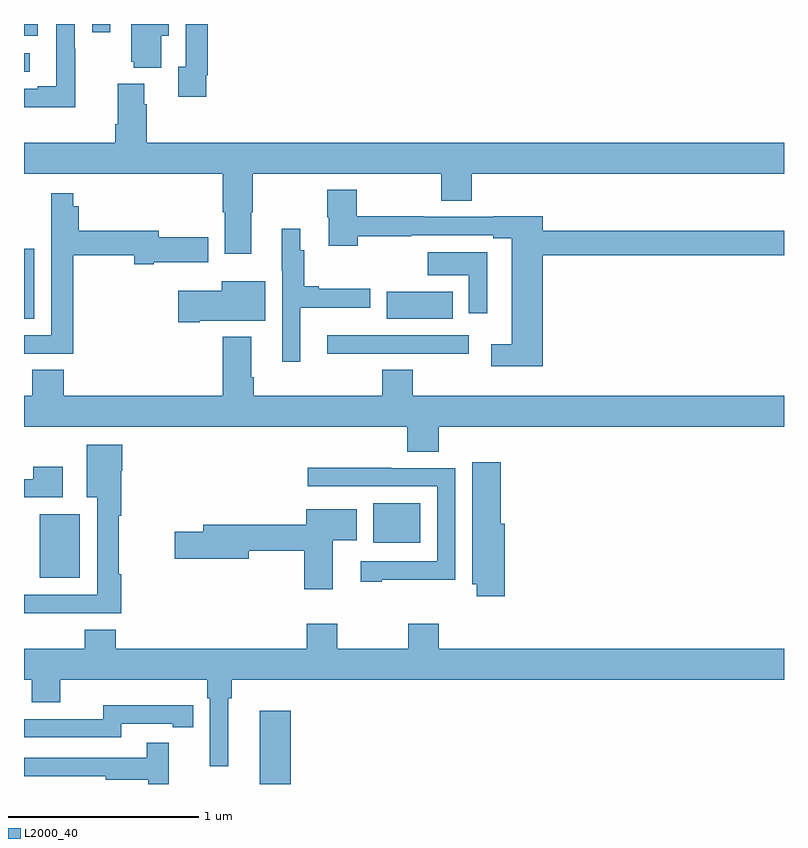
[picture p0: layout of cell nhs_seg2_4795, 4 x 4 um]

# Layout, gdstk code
import gdstk
lib = gdstk.Library(unit=1e-6, precision=1e-09)
def R(c, l, rs):  # rectangles x0, y0, x1, y1
    for r in rs: c.add(gdstk.rectangle(r[:2], r[2:], *l))
def P(c, l, *ps):  # polygons
    for p in ps: c.add(gdstk.Polygon(p, *l))
L2000_40 = (2000, 40)

nhs_seg2_4795 = lib.new_cell('nhs_seg2_4795')
R(nhs_seg2_4795, L2000_40, [(374.24,601.8,374.404,602.185), (373.082,602.885,373.294,603.22), (374.837,603.071,375.085,603.277), (373,604.248,373.054,604.617), (374.908,604.25,375.257,604.39), (373,605.55,373.03,605.646), (373,605.738,373.072,605.8), (373.359,605.757,373.455,605.8)])
P(nhs_seg2_4795, L2000_40, [(373.96,605.53),(373.967,605.53),(373.967,605.8),(373.851,605.8),(373.851,605.574),(373.811,605.574),(373.811,605.418),(373.96,605.418)],
  [(373.269,605.669),(373.266,605.669),(373.266,605.8),(373.17,605.8),(373.17,605.473),(373.073,605.473),(373.073,605.46),(373,605.46),(373,605.363),(373.269,605.363)],
  [(373.723,605.738),(373.762,605.738),(373.762,605.8),(373.565,605.8),(373.565,605.601),(373.577,605.601),(373.577,605.57),(373.723,605.57)],
  [(373.646,605.378),(373.633,605.378),(373.633,605.485),(373.493,605.485),(373.493,605.272),(373.481,605.272),(373.481,605.176),(373,605.176),(373,605.012),(374.045,605.012),(374.045,604.809),(374.057,604.809),(374.057,604.59),(374.197,604.59),(374.197,604.81),(374.205,604.81),(374.205,605.012),(375.196,605.012),(375.196,604.87),(375.356,604.87),(375.356,605.012),(377,605.012),(377,605.176),(373.646,605.176)],
  [(375.731,604.582),(377,604.582),(377,604.711),(375.731,604.711),(375.731,604.788),(375.47,604.788),(375.47,604.785),(375.107,604.785),(375.107,604.788),(374.751,604.788),(374.751,604.927),(374.596,604.927),(374.596,604.782),(374.603,604.782),(374.603,604.632),(374.756,604.632),(374.756,604.684),(375.038,604.684),(375.038,604.689),(375.47,604.689),(375.47,604.673),(375.566,604.673),(375.566,604.115),(375.459,604.115),(375.459,603.998),(375.731,603.998)],
  [(373.259,604.582),(373.58,604.582),(373.58,604.535),(373.684,604.535),(373.684,604.547),(373.969,604.547),(373.969,604.677),(373.708,604.677),(373.708,604.711),(373.289,604.711),(373.289,604.84),(373.259,604.84),(373.259,604.909),(373.143,604.909),(373.143,604.161),(373,604.161),(373,604.065),(373.259,604.065)],
  [(374.455,604.307),(374.823,604.307),(374.823,604.407),(374.551,604.407),(374.551,604.42),(374.474,604.42),(374.474,604.61),(374.455,604.61),(374.455,604.723),(374.357,604.723),(374.357,604.501),(374.358,604.501),(374.358,604.023),(374.455,604.023)],
  [(375.438,604.599),(375.126,604.599),(375.126,604.478),(375.342,604.478),(375.342,604.278),(375.438,604.278)],
  [(373.924,604.238),(374.269,604.238),(374.269,604.447),(374.042,604.447),(374.042,604.396),(373.812,604.396),(373.812,604.231),(373.924,604.231)],
  [(375.34,604.161),(374.814,604.161),(374.814,604.162),(374.595,604.162),(374.595,604.065),(375.34,604.065)],
  [(375.182,603.68),(377,603.68),(377,603.844),(375.045,603.844),(375.045,603.98),(374.885,603.98),(374.885,603.844),(374.21,603.844),(374.21,603.94),(374.197,603.94),(374.197,604.153),(374.045,604.153),(374.045,603.844),(373.208,603.844),(373.208,603.98),(373.043,603.98),(373.043,603.844),(373,603.844),(373,603.68),(375.017,603.68),(375.017,603.549),(375.182,603.549)],
  [(373.511,602.903),(373.498,602.903),(373.498,603.212),(373.511,603.212),(373.511,603.45),(373.516,603.45),(373.516,603.586),(373.331,603.586),(373.331,603.308),(373.385,603.308),(373.385,602.796),(373,602.796),(373,602.699),(373.511,602.699)],
  [(375.53,603.171),(375.509,603.171),(375.509,603.493),(375.359,603.493),(375.359,602.852),(375.383,602.852),(375.383,602.787),(375.53,602.787)],
  [(373.204,603.469),(373.048,603.469),(373.048,603.405),(373,603.405),(373,603.309),(373.204,603.309)],
  [(374.884,602.875),(375.27,602.875),(375.27,603.462),(374.933,603.462),(374.933,603.464),(374.493,603.464),(374.493,603.366),(375.174,603.366),(375.174,602.973),(374.772,602.973),(374.772,602.865),(374.884,602.865)],
  [(374.626,603.083),(374.752,603.083),(374.752,603.247),(374.486,603.247),(374.486,603.164),(373.943,603.164),(373.943,603.128),(373.794,603.128),(373.794,602.986),(374.182,602.986),(374.182,603.028),(374.474,603.028),(374.474,602.826),(374.626,602.826)],
  [(374.074,602.252),(374.093,602.252),(374.093,602.348),(377,602.348),(377,602.512),(375.182,602.512),(375.182,602.644),(375.022,602.644),(375.022,602.512),(374.649,602.512),(374.649,602.644),(374.489,602.644),(374.489,602.512),(373.484,602.512),(373.484,602.611),(373.319,602.611),(373.319,602.512),(373,602.512),(373,602.348),(373.04,602.348),(373.04,602.231),(373.192,602.231),(373.192,602.348),(373.964,602.348),(373.964,602.252),(373.977,602.252),(373.977,601.893),(374.074,601.893)],
  [(373.512,602.118),(373.784,602.118),(373.784,602.098),(373.892,602.098),(373.892,602.214),(373.784,602.214),(373.784,602.215),(373.416,602.215),(373.416,602.142),(373,602.142),(373,602.046),(373.512,602.046)],
  [(373.763,602.017),(373.645,602.017),(373.645,601.938),(373,601.938),(373,601.842),(373.429,601.842),(373.429,601.822),(373.653,601.822),(373.653,601.8),(373.763,601.8)])

lib.write_gds('nhs_seg2_4795.gds')
